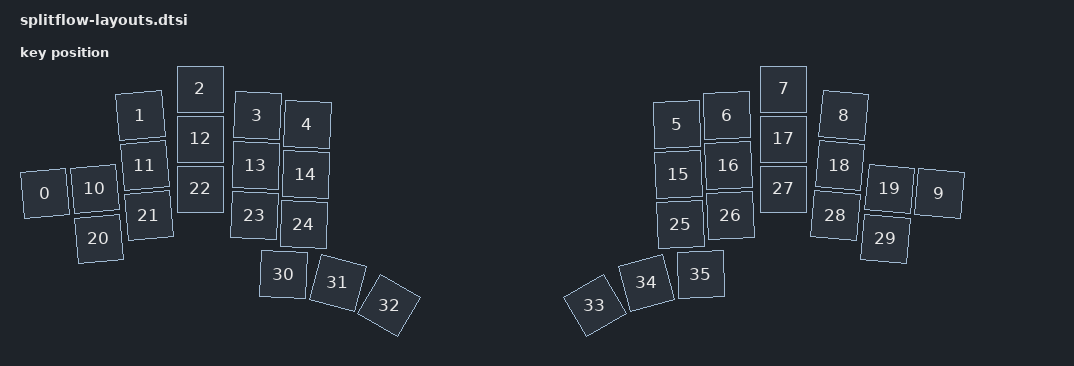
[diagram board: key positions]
#include <physical_layouts.dtsi>

/ {
    phylayout: physical_layout_1 {
        compatible = "zmk,physical-layout";
        display-name = "LAYOUT";

        transform = <&transform>;

        keys  //                     w   h    x    y     rot    rx    ry
            = <&key_physical_attrs 100 100    0  209  (-500)    50   259>
            , <&key_physical_attrs 100 100  191   53  (-500)   241   103>
            , <&key_physical_attrs 100 100  311    0       0     0     0>
            , <&key_physical_attrs 100 100  425   53     200   475   103>
            , <&key_physical_attrs 100 100  525   71     200   575   121>
            , <&key_physical_attrs 100 100 1264   71  (-200)  1314   121>
            , <&key_physical_attrs 100 100 1364   53  (-200)  1414   103>
            , <&key_physical_attrs 100 100 1478    0       0     0     0>
            , <&key_physical_attrs 100 100 1598   53     500  1648   103>
            , <&key_physical_attrs 100 100 1789  209     500  1839   259>
            , <&key_physical_attrs 100 100  100  200  (-500)   150   250>
            , <&key_physical_attrs 100 100  200  153  (-500)   250   203>
            , <&key_physical_attrs 100 100  311  100       0     0     0>
            , <&key_physical_attrs 100 100  422  153     200   472   203>
            , <&key_physical_attrs 100 100  522  171     200   572   221>
            , <&key_physical_attrs 100 100 1267  171  (-200)  1317   221>
            , <&key_physical_attrs 100 100 1367  153  (-200)  1417   203>
            , <&key_physical_attrs 100 100 1478  100       0     0     0>
            , <&key_physical_attrs 100 100 1590  153     500  1640   203>
            , <&key_physical_attrs 100 100 1690  200     500  1740   250>
            , <&key_physical_attrs 100 100  108  300  (-500)   158   350>
            , <&key_physical_attrs 100 100  208  253  (-500)   258   303>
            , <&key_physical_attrs 100 100  311  200       0     0     0>
            , <&key_physical_attrs 100 100  419  253     200   469   303>
            , <&key_physical_attrs 100 100  518  271     200   568   321>
            , <&key_physical_attrs 100 100 1271  271  (-200)  1321   321>
            , <&key_physical_attrs 100 100 1371  253  (-200)  1421   303>
            , <&key_physical_attrs 100 100 1478  200       0     0     0>
            , <&key_physical_attrs 100 100 1581  253     500  1631   303>
            , <&key_physical_attrs 100 100 1681  300     500  1731   350>
            , <&key_physical_attrs 100 100  477  371     200   527   421>
            , <&key_physical_attrs 100 100  586  388    1500   636   438>
            , <&key_physical_attrs 100 100  689  433    3000   739   483>
            , <&key_physical_attrs 100 100 1100  433 (-3000)  1150   483>
            , <&key_physical_attrs 100 100 1203  388 (-1500)  1253   438>
            , <&key_physical_attrs 100 100 1312  371  (-200)  1362   421>
            ;
    };

    position_map {
        compatible = "zmk,physical-layout-position-map";

        poslayout{
            physical-layout = <&phylayout>;
            positions = <      1  2  3  4   5  6  7  8      >,
                        < 0 10 11 12 13 14  15 16 17 18 19 9>,
                        <   20 21 22 23 24  25 26 27 28 29  >,
                        <         30 31 32  33 34 35>;
        };
    };
};

